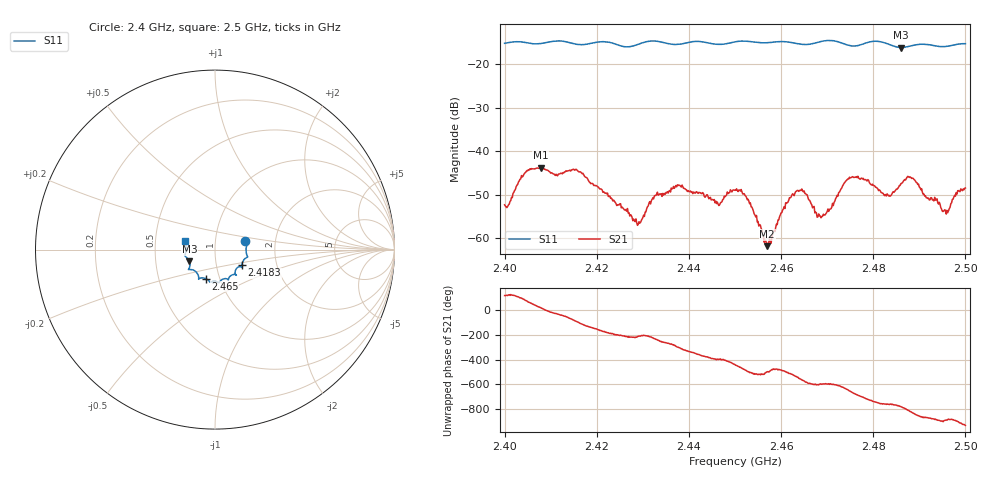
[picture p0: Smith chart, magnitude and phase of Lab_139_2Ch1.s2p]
# Hz S RI R 50
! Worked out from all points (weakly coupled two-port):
!   601 points, 2.4 GHz to 2.5 GHz, reference 50 ohm
!   highest |S21| = -43.77 dB at 2.4078 GHz (marker M1); lowest = -61.8 dB at 2.457 GHz (marker M2)
!   lowest |S11| = -16.1 dB at 2.486 GHz (marker M3), VSWR 1.37, Z = 37.3 - j4.94 ohm
!   |S11| at or under -10 dB: start of sweep to end of sweep
!   S12 and S22 are empty: the file has one direction only
!   S11 on the Smith chart (normalised r, x): 2.4 GHz: 1.40, +0.13; 2.4183 GHz: 1.33, -0.24; 2.465 GHz: 0.86, -0.28; 2.5 GHz: 0.71, +0.07
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2.4e9  0.1688 0.0465  -0.000969 0.00222  0 0  0 0
2.404667e9  0.1767 0.0224  0.0017 0.00559  0 0  0 0
2.407833e9  0.1734 -0.014  0.00624 0.00176  0 0  0 0
2.416667e9  0.1546 -0.0679  -0.00223 -0.00519  0 0  0 0
2.418333e9  0.1499 -0.0871  -0.00328 -0.00304  0 0  0 0
2.429167e9  0.1122 -0.1302  -0.00131 0.000827  0 0  0 0
2.433333e9  0.1179 -0.141  -0.0013 0.00284  0 0  0 0
2.438e9  0.0826 -0.1495  0.00245 0.00323  0 0  0 0
2.4465e9  0.0491 -0.1629  0.00188 -0.00146  0 0  0 0
2.45e9  0.0258 -0.1802  0.000593 -0.00353  0 0  0 0
2.4525e9  0.0203 -0.184  -0.00185 -0.00228  0 0  0 0
2.457e9  -0.00965 -0.1776  -0.000599 -0.000544  0 0  0 0
2.462167e9  -0.0322 -0.1762  -0.00273 -0.00119  0 0  0 0
2.465e9  -0.0526 -0.1614  -0.003 0.00181  0 0  0 0
2.466667e9  -0.0713 -0.1572  -0.00134 0.00201  0 0  0 0
2.469167e9  -0.0898 -0.1631  -0.00106 0.00156  0 0  0 0
2.475333e9  -0.1035 -0.1264  0.00263 0.00428  0 0  0 0
2.483333e9  -0.1409 -0.0964  0.00239 -0.00192  0 0  0 0
2.486e9  -0.1424 -0.0647  0.00227 -0.00358  0 0  0 0
2.4885e9  -0.1594 -0.043  -0.0014 -0.00471  0 0  0 0
2.495667e9  -0.1604 0.0122  -0.00205 -0.00047  0 0  0 0
2.5e9  -0.1669 0.0468  -0.00332 0.00182  0 0  0 0
